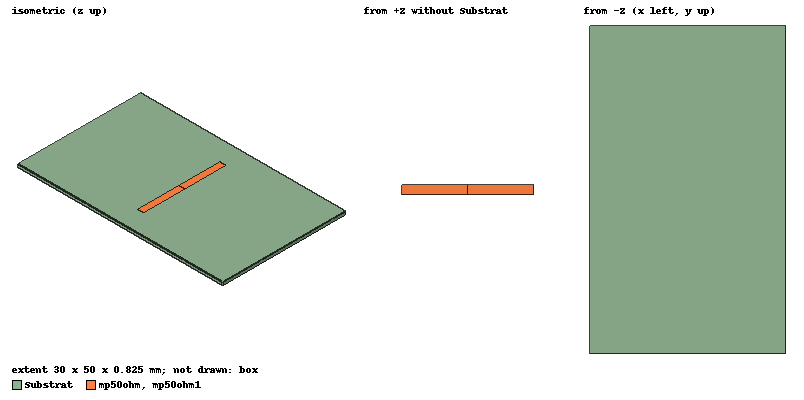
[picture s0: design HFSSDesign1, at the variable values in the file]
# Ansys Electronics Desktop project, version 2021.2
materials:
  vacuum: permittivity=1
  FR4_epoxy: permittivity=4.4 dielectric_loss_tangent=0.02
  copper: permeability=0.999991 conductivity=58000000

design HFSSDesign1 (HFSS, DrivenModal, model units mm)
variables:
  ls = 30mm
  ws = 50mm
  hs = 0.79mm
  wa = 25mm
  hbox = 8mm
  l50 = 10mm
  w50 = 1.45mm
  hcu = 0.035mm
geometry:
  Substrat [FR4_epoxy] = box(corner=(-ls/2, -wa, 0mm), size=(ls, ws, hs))
  box [vacuum] = box(corner=(-ls/2, -wa, hs), size=(ls, ws, hbox))
  mp50ohm [copper] = box(corner=(-l50, -w50/2, hs), size=(l50, w50, hcu))
  mp50ohm1 [copper] = box(corner=(l50, -w50/2, hs), size=(-l50, w50, hcu))
  Rectangle1 = rectangle(corner=(-l50, -w50/2, 0mm), y_size=w50, z_size=hs)
  Rectangle2 = rectangle(corner=(l50, -w50/2, 0mm), y_size=w50, z_size=hs)
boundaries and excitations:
  Rad1: Radiation Faces=box.face(+z)
  1: Lumped Port Objects=Rectangle1 Modes{Mode1{IntLine{middle of Rectangle1.edge(z at corner) -> middle of Rectangle1.edge(z opposite corner)} CharImp=Zpi RenormImp=50ohm}} Impedance=50ohm
  2: Lumped Port Objects=Rectangle2 Modes{Mode1{IntLine{middle of Rectangle2.edge(z at corner) -> middle of Rectangle2.edge(z opposite corner)} CharImp=Zpi RenormImp=50ohm}} Impedance=50ohm
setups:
  Setup1: HfssDrivenAuto AutoSolverSetting=Balanced Type=Interpolating
    sweep Sweep: 0.25GHz to 6GHz, 51 points;
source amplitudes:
  1:1: 1W 0deg
  2:1: 0W 0deg
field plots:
  Mag_E1: E Field on Setup1 : Sweep at Freq=5.28125GHz Phase=0deg
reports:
  S Parameter Plot 1: dB(S(1,1)), dB(S(2,1)) vs Freq on Setup1 : Sweep
